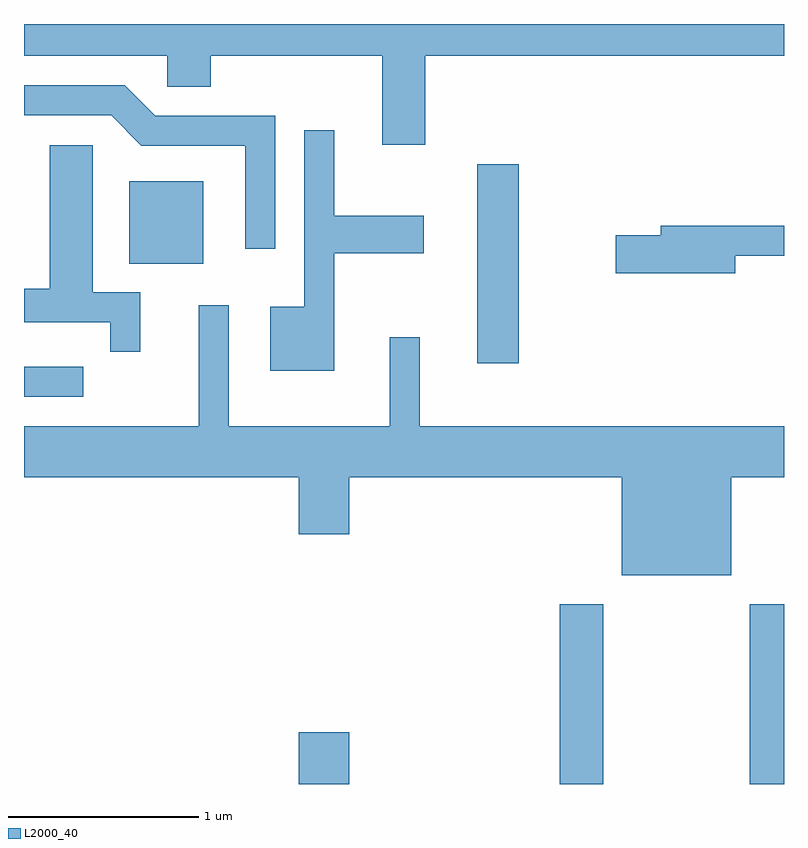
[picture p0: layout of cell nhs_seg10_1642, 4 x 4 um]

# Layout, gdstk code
import gdstk
lib = gdstk.Library(unit=1e-6, precision=1e-09)
def R(c, l, rs):  # rectangles x0, y0, x1, y1
    for r in rs: c.add(gdstk.rectangle(r[:2], r[2:], *l))
def P(c, l, *ps):  # polygons
    for p in ps: c.add(gdstk.Polygon(p, *l))
L2000_40 = (2000, 40)

nhs_seg10_1642 = lib.new_cell('nhs_seg10_1642')
R(nhs_seg10_1642, L2000_40, [(235.056,2114.522,235.324,2114.794), (236.431,2114.522,236.659,2115.469), (237.431,2114.522,237.611,2115.469), (233.611,2116.561,233.923,2116.719), (235.996,2116.736,236.214,2117.784), (234.166,2117.261,234.554,2117.694)])
P(nhs_seg10_1642, L2000_40, [(235.724,2118.356),(237.611,2118.356),(237.611,2118.522),(233.611,2118.522),(233.611,2118.356),(234.366,2118.356),(234.366,2118.191),(234.594,2118.191),(234.594,2118.356),(235.496,2118.356),(235.496,2117.886),(235.724,2117.886)],
  [(234.934,2118.039),(234.302,2118.039),(234.142,2118.199),(233.611,2118.199),(233.611,2118.041),(234.069,2118.041),(234.229,2117.881),(234.776,2117.881),(234.776,2117.338),(234.934,2117.338)],
  [(235.244,2117.316),(235.714,2117.316),(235.714,2117.514),(235.244,2117.514),(235.244,2117.963),(235.086,2117.963),(235.086,2117.034),(234.906,2117.034),(234.906,2116.696),(235.244,2116.696)],
  [(234.224,2117.109),(233.974,2117.109),(233.974,2117.884),(233.746,2117.884),(233.746,2117.129),(233.611,2117.129),(233.611,2116.951),(234.066,2116.951),(234.066,2116.798),(234.224,2116.798)],
  [(237.354,2117.301),(237.611,2117.301),(237.611,2117.459),(236.961,2117.459),(236.961,2117.409),(236.726,2117.409),(236.726,2117.211),(237.354,2117.211)],
  [(237.334,2116.136),(237.611,2116.136),(237.611,2116.404),(235.694,2116.404),(235.694,2116.873),(235.536,2116.873),(235.536,2116.404),(234.689,2116.404),(234.689,2117.043),(234.531,2117.043),(234.531,2116.404),(233.611,2116.404),(233.611,2116.136),(235.056,2116.136),(235.056,2115.836),(235.324,2115.836),(235.324,2116.136),(236.756,2116.136),(236.756,2115.621),(237.334,2115.621)])

lib.write_gds('nhs_seg10_1642.gds')
